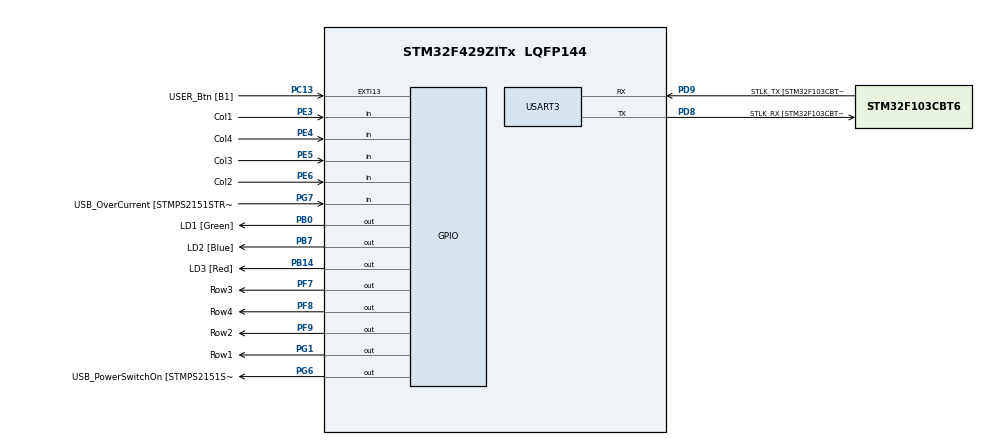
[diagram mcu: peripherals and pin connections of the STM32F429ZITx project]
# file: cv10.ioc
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Mcu.Family=STM32F4
Mcu.Name=STM32F429ZITx
Mcu.Package=LQFP144
NVIC.PriorityGroup=NVIC_PRIORITYGROUP_4
NVIC.TIM3_IRQn=true\:0\:0\:false\:false\:true\:true\:true\:true
PA1.GPIO_Label=RMII_REF_CLK [LAN8742A-CZ-TR_REFCLK0]
PA1.Signal=ETH_REF_CLK
PA10.GPIO_Label=USB_ID
PA10.Signal=USB_OTG_FS_ID
PA11.GPIO_Label=USB_DM
PA11.Signal=USB_OTG_FS_DM
PA12.GPIO_Label=USB_DP
PA12.Signal=USB_OTG_FS_DP
PA13.GPIO_Label=TMS
PA13.Mode=Serial_Wire
PA13.Signal=SYS_JTMS-SWDIO
PA14.GPIO_Label=TCK
PA14.Mode=Serial_Wire
PA14.Signal=SYS_JTCK-SWCLK
PA2.GPIO_Label=RMII_MDIO [LAN8742A-CZ-TR_MDIO]
PA2.Signal=ETH_MDIO
PA7.GPIO_Label=RMII_CRS_DV [LAN8742A-CZ-TR_CRS_DV]
PA7.Signal=ETH_CRS_DV
PA8.GPIO_Label=USB_SOF [TP1]
PA8.Signal=USB_OTG_FS_SOF
PA9.GPIO_Label=USB_VBUS
PA9.Signal=USB_OTG_FS_VBUS
PB0.GPIO_Label=LD1 [Green]
PB0.Signal=GPIO_Output
PB13.GPIO_Label=RMII_TXD1 [LAN8742A-CZ-TR_TXD1]
PB13.Signal=ETH_TXD1
PB14.GPIO_Label=LD3 [Red]
PB14.Signal=GPIO_Output
PB7.GPIO_Label=LD2 [Blue]
PB7.Signal=GPIO_Output
PC1.GPIO_Label=RMII_MDC [LAN8742A-CZ-TR_MDC]
PC1.Signal=ETH_MDC
PC13.GPIO_Label=USER_Btn [B1]
PC13.Signal=GPXTI13
PC14/OSC32_IN.Mode=LSE-External-Oscillator
PC14/OSC32_IN.Signal=RCC_OSC32_IN
PC15/OSC32_OUT.Mode=LSE-External-Oscillator
PC15/OSC32_OUT.Signal=RCC_OSC32_OUT
PC4.GPIO_Label=RMII_RXD0 [LAN8742A-CZ-TR_RXD0]
PC4.Signal=ETH_RXD0
PC5.GPIO_Label=RMII_RXD1 [LAN8742A-CZ-TR_RXD1]
PC5.Signal=ETH_RXD1
PD8.GPIO_Label=STLK_RX [STM32F103CBT6_PA3]
PD8.Mode=Asynchronous
PD8.Signal=USART3_TX
PD9.GPIO_Label=STLK_TX [STM32F103CBT6_PA2]
PD9.Mode=Asynchronous
PD9.Signal=USART3_RX
PE3.GPIO_Label=Col1
PE3.GPIO_PuPd=GPIO_PULLUP
PE3.Signal=GPIO_Input
PE4.GPIO_Label=Col4
PE4.GPIO_PuPd=GPIO_PULLUP
PE4.Signal=GPIO_Input
PE5.GPIO_Label=Col3
PE5.GPIO_PuPd=GPIO_PULLUP
PE5.Signal=GPIO_Input
PE6.GPIO_Label=Col2
PE6.GPIO_PuPd=GPIO_PULLUP
PE6.Signal=GPIO_Input
PF7.GPIO_Label=Row3
PF7.GPIO_ModeDefaultOutputPP=GPIO_MODE_OUTPUT_OD
PF7.GPIO_PuPd=GPIO_NOPULL
PF7.Signal=GPIO_Output
PF8.GPIO_Label=Row4
PF8.GPIO_ModeDefaultOutputPP=GPIO_MODE_OUTPUT_OD
PF8.GPIO_PuPd=GPIO_NOPULL
PF8.Signal=GPIO_Output
PF9.GPIO_Label=Row2
PF9.GPIO_ModeDefaultOutputPP=GPIO_MODE_OUTPUT_OD
PF9.GPIO_PuPd=GPIO_NOPULL
PF9.Signal=GPIO_Output
PG1.GPIO_Label=Row1
PG1.GPIO_ModeDefaultOutputPP=GPIO_MODE_OUTPUT_OD
PG1.GPIO_PuPd=GPIO_NOPULL
PG1.Signal=GPIO_Output
PG11.GPIO_Label=RMII_TX_EN [LAN8742A-CZ-TR_TXEN]
PG11.Signal=ETH_TX_EN
PG13.GPIO_Label=RMII_TXD0 [LAN8742A-CZ-TR_TXD0]
PG13.Signal=ETH_TXD0
PG6.GPIO_Label=USB_PowerSwitchOn [STMPS2151STR_EN]
PG6.Signal=GPIO_Output
PG7.GPIO_Label=USB_OverCurrent [STMPS2151STR_FAULT]
PG7.Signal=GPIO_Input
PH0/OSC_IN.GPIO_Label=MCO [STM32F103CBT6_PA8]
PH0/OSC_IN.Mode=HSE-External-Clock-Source
PH0/OSC_IN.Signal=RCC_OSC_IN
PH1/OSC_OUT.Mode=HSE-External-Clock-Source
PH1/OSC_OUT.Signal=RCC_OSC_OUT
ProjectManager.HeapSize=0x200
ProjectManager.StackSize=0x400
ProjectManager.TargetToolchain=STM32CubeIDE
RCC.48MHZClocksFreq_Value=48000000
RCC.AHBFreq_Value=168000000
RCC.APB1CLKDivider=RCC_HCLK_DIV4
RCC.APB1Freq_Value=42000000
RCC.APB1TimFreq_Value=84000000
RCC.APB2CLKDivider=RCC_HCLK_DIV2
RCC.APB2Freq_Value=84000000
RCC.APB2TimCLKDivider=2
RCC.APB2TimFreq_Value=168000000
RCC.CortexFreq_Value=168000000
RCC.HCLKFreq_Value=168000000
RCC.HSE_VALUE=8000000
RCC.HSI_VALUE=16000000
RCC.PLLM=4
RCC.PLLMUL=RCC_PLL_MUL9
RCC.PLLN=168
RCC.PLLQ=7
RCC.PLLSourceVirtual=RCC_PLLSOURCE_HSE
RCC.PRESCALERUSB=RCC_USBCLKSOURCE_PLL_DIV1_5
RCC.SYSCLKFreq_VALUE=168000000
RCC.SYSCLKSource=RCC_SYSCLKSOURCE_PLLCLK
RCC.SYSCLKSourceVirtual=RCC_SYSCLKSOURCE_PLLCLK
RCC.USBFreq_Value=48000000
RCC.VCOOutputFreq_Value=336000000
TIM3.AutoReloadPreload=TIM_AUTORELOAD_PRELOAD_ENABLE
TIM3.Period=99
TIM3.Prescaler=8399
USART3.VirtualMode=VM_ASYNC
VP_TIM3_VS_ClockSourceINT.Mode=Internal
board=NUCLEO-F429ZI

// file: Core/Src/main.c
/* USER CODE BEGIN Header */
/**
 ******************************************************************************
 * @file           : main.c
 * @brief          : Main program body
 ******************************************************************************
 * @attention
 *
 * Copyright (c) 2022 STMicroelectronics.
 * All rights reserved.
 *
 * This software is licensed under terms that can be found in the LICENSE file
 * in the root directory of this software component.
 * If no LICENSE file comes with this software, it is provided AS-IS.
 *
 ******************************************************************************
 */
/* USER CODE END Header */
#include "main.h"

/* USER CODE BEGIN Includes */
#include <stdio.h>

/* USER CODE END Includes */

TIM_HandleTypeDef htim3;

UART_HandleTypeDef huart3;

/* USER CODE BEGIN PV */
static volatile int8_t key = -1;
static const int key_def[5] =  {7, 9, 3, 2, 12 };

/* USER CODE END PV */

void SystemClock_Config(void);
static void MX_GPIO_Init(void);
static void MX_USART3_UART_Init(void);
static void MX_TIM3_Init(void);

/* USER CODE BEGIN 0 */
int __io_putchar(int ch)
{
	ITM_SendChar(ch);
	return 0;
}

static int8_t pos = 0;

/* USER CODE END 0 */

int main(void)
{

	/* MCU Configuration--------------------------------------------------------*/

	/* Reset of all peripherals, Initializes the Flash interface and the Systick. */
	HAL_Init();

	/* Configure the system clock */
	SystemClock_Config();

	/* Initialize all configured peripherals */
	MX_GPIO_Init();
	MX_USART3_UART_Init();
	MX_TIM3_Init();
	/* USER CODE BEGIN 2 */
	HAL_TIM_Base_Start_IT(&htim3);
	printf(" test - OK\n\r");
	int8_t pos = 0;

	/* USER CODE END 2 */

	/* Infinite loop */
	/* USER CODE BEGIN WHILE */
	while (1)
	{
		//HAL_GPIO_TogglePin(LD1_GPIO_Port, LD1_Pin);
		//HAL_Delay(120);

		//scanf("%d", key);
		static uint32_t delay = 0xffffffff;
		if (HAL_GetTick() > delay) {
			pos = 0;
			delay = 0xffffffff;
			printf("timeout\n");

		}

		if (key != -1) {
			delay = HAL_GetTick() + 3000;
			printf("pressed %d\n", key);
			if (key == key_def[pos]) {
				pos++;
			}
			else {
				pos = 0;
			}
			printf("pos = %d\n", pos);
			HAL_Delay(500);
			key = -1;
		}
		if (pos == 5) {
			HAL_GPIO_TogglePin(LD1_GPIO_Port, LD1_Pin);
			pos = 0;
			delay = 0xffffffff;
			}

			/* USER CODE END WHILE */

		}
	}

	/**
	 * @brief System Clock Configuration
	 * @retval None
	 */
	void SystemClock_Config(void)
	{
		RCC_OscInitTypeDef RCC_OscInitStruct = {0};
		RCC_ClkInitTypeDef RCC_ClkInitStruct = {0};

		/** Configure the main internal regulator output voltage
		 */
		__HAL_RCC_PWR_CLK_ENABLE();
		__HAL_PWR_VOLTAGESCALING_CONFIG(PWR_REGULATOR_VOLTAGE_SCALE1);

		/** Initializes the RCC Oscillators according to the specified parameters
		 * in the RCC_OscInitTypeDef structure.
		 */
		RCC_OscInitStruct.OscillatorType = RCC_OSCILLATORTYPE_HSE;
		RCC_OscInitStruct.HSEState = RCC_HSE_BYPASS;
		RCC_OscInitStruct.PLL.PLLState = RCC_PLL_ON;
		RCC_OscInitStruct.PLL.PLLSource = RCC_PLLSOURCE_HSE;
		RCC_OscInitStruct.PLL.PLLM = 4;
		RCC_OscInitStruct.PLL.PLLN = 168;
		RCC_OscInitStruct.PLL.PLLP = RCC_PLLP_DIV2;
		RCC_OscInitStruct.PLL.PLLQ = 7;
		if (HAL_RCC_OscConfig(&RCC_OscInitStruct) != HAL_OK)
		{
			Error_Handler();
		}

		/** Initializes the CPU, AHB and APB buses clocks
		 */
		RCC_ClkInitStruct.ClockType = RCC_CLOCKTYPE_HCLK|RCC_CLOCKTYPE_SYSCLK
				|RCC_CLOCKTYPE_PCLK1|RCC_CLOCKTYPE_PCLK2;
		RCC_ClkInitStruct.SYSCLKSource = RCC_SYSCLKSOURCE_PLLCLK;
		RCC_ClkInitStruct.AHBCLKDivider = RCC_SYSCLK_DIV1;
		RCC_ClkInitStruct.APB1CLKDivider = RCC_HCLK_DIV4;
		RCC_ClkInitStruct.APB2CLKDivider = RCC_HCLK_DIV2;

		if (HAL_RCC_ClockConfig(&RCC_ClkInitStruct, FLASH_LATENCY_5) != HAL_OK)
		{
			Error_Handler();
		}
	}

	/**
	 * @brief TIM3 Initialization Function
	 * @param None
	 * @retval None
	 */
	static void MX_TIM3_Init(void)
	{

		TIM_ClockConfigTypeDef sClockSourceConfig = {0};
		TIM_MasterConfigTypeDef sMasterConfig = {0};

		htim3.Instance = TIM3;
		htim3.Init.Prescaler = 8399;
		htim3.Init.CounterMode = TIM_COUNTERMODE_UP;
		htim3.Init.Period = 99;
		htim3.Init.ClockDivision = TIM_CLOCKDIVISION_DIV1;
		htim3.Init.AutoReloadPreload = TIM_AUTORELOAD_PRELOAD_ENABLE;
		if (HAL_TIM_Base_Init(&htim3) != HAL_OK)
		{
			Error_Handler();
		}
		sClockSourceConfig.ClockSource = TIM_CLOCKSOURCE_INTERNAL;
		if (HAL_TIM_ConfigClockSource(&htim3, &sClockSourceConfig) != HAL_OK)
		{
			Error_Handler();
		}
		sMasterConfig.MasterOutputTrigger = TIM_TRGO_RESET;
		sMasterConfig.MasterSlaveMode = TIM_MASTERSLAVEMODE_DISABLE;
		if (HAL_TIMEx_MasterConfigSynchronization(&htim3, &sMasterConfig) != HAL_OK)
		{
			Error_Handler();
		}

	}

	/**
	 * @brief USART3 Initialization Function
	 * @param None
	 * @retval None
	 */
	static void MX_USART3_UART_Init(void)
	{

		huart3.Instance = USART3;
		huart3.Init.BaudRate = 115200;
		huart3.Init.WordLength = UART_WORDLENGTH_8B;
		huart3.Init.StopBits = UART_STOPBITS_1;
		huart3.Init.Parity = UART_PARITY_NONE;
		huart3.Init.Mode = UART_MODE_TX_RX;
		huart3.Init.HwFlowCtl = UART_HWCONTROL_NONE;
		huart3.Init.OverSampling = UART_OVERSAMPLING_16;
		if (HAL_UART_Init(&huart3) != HAL_OK)
		{
			Error_Handler();
		}

	}

	/**
	 * @brief GPIO Initialization Function
	 * @param None
	 * @retval None
	 */
	static void MX_GPIO_Init(void)
	{
		GPIO_InitTypeDef GPIO_InitStruct = {0};

		/* GPIO Ports Clock Enable */
		__HAL_RCC_GPIOE_CLK_ENABLE();
		__HAL_RCC_GPIOC_CLK_ENABLE();
		__HAL_RCC_GPIOF_CLK_ENABLE();
		__HAL_RCC_GPIOH_CLK_ENABLE();
		__HAL_RCC_GPIOA_CLK_ENABLE();
		__HAL_RCC_GPIOB_CLK_ENABLE();
		__HAL_RCC_GPIOG_CLK_ENABLE();
		__HAL_RCC_GPIOD_CLK_ENABLE();

		/*Configure GPIO pin Output Level */
		HAL_GPIO_WritePin(GPIOF, Row3_Pin|Row4_Pin|Row2_Pin, GPIO_PIN_RESET);

		/*Configure GPIO pin Output Level */
		HAL_GPIO_WritePin(GPIOB, LD1_Pin|LD3_Pin|LD2_Pin, GPIO_PIN_RESET);

		/*Configure GPIO pin Output Level */
		HAL_GPIO_WritePin(GPIOG, Row1_Pin|USB_PowerSwitchOn_Pin, GPIO_PIN_RESET);

		/*Configure GPIO pins : Col1_Pin Col4_Pin Col3_Pin Col2_Pin */
		GPIO_InitStruct.Pin = Col1_Pin|Col4_Pin|Col3_Pin|Col2_Pin;
		GPIO_InitStruct.Mode = GPIO_MODE_INPUT;
		GPIO_InitStruct.Pull = GPIO_PULLUP;
		HAL_GPIO_Init(GPIOE, &GPIO_InitStruct);

		/*Configure GPIO pin : USER_Btn_Pin */
		GPIO_InitStruct.Pin = USER_Btn_Pin;
		GPIO_InitStruct.Mode = GPIO_MODE_IT_RISING;
		GPIO_InitStruct.Pull = GPIO_NOPULL;
		HAL_GPIO_Init(USER_Btn_GPIO_Port, &GPIO_InitStruct);

		/*Configure GPIO pins : Row3_Pin Row4_Pin Row2_Pin */
		GPIO_InitStruct.Pin = Row3_Pin|Row4_Pin|Row2_Pin;
		GPIO_InitStruct.Mode = GPIO_MODE_OUTPUT_OD;
		GPIO_InitStruct.Pull = GPIO_NOPULL;
		GPIO_InitStruct.Speed = GPIO_SPEED_FREQ_LOW;
		HAL_GPIO_Init(GPIOF, &GPIO_InitStruct);

		/*Configure GPIO pins : RMII_MDC_Pin RMII_RXD0_Pin RMII_RXD1_Pin */
		GPIO_InitStruct.Pin = RMII_MDC_Pin|RMII_RXD0_Pin|RMII_RXD1_Pin;
		GPIO_InitStruct.Mode = GPIO_MODE_AF_PP;
		GPIO_InitStruct.Pull = GPIO_NOPULL;
		GPIO_InitStruct.Speed = GPIO_SPEED_FREQ_VERY_HIGH;
		GPIO_InitStruct.Alternate = GPIO_AF11_ETH;
		HAL_GPIO_Init(GPIOC, &GPIO_InitStruct);

		/*Configure GPIO pins : RMII_REF_CLK_Pin RMII_MDIO_Pin RMII_CRS_DV_Pin */
		GPIO_InitStruct.Pin = RMII_REF_CLK_Pin|RMII_MDIO_Pin|RMII_CRS_DV_Pin;
		GPIO_InitStruct.Mode = GPIO_MODE_AF_PP;
		GPIO_InitStruct.Pull = GPIO_NOPULL;
		GPIO_InitStruct.Speed = GPIO_SPEED_FREQ_VERY_HIGH;
		GPIO_InitStruct.Alternate = GPIO_AF11_ETH;
		HAL_GPIO_Init(GPIOA, &GPIO_InitStruct);

		/*Configure GPIO pins : LD1_Pin LD3_Pin LD2_Pin */
		GPIO_InitStruct.Pin = LD1_Pin|LD3_Pin|LD2_Pin;
		GPIO_InitStruct.Mode = GPIO_MODE_OUTPUT_PP;
		GPIO_InitStruct.Pull = GPIO_NOPULL;
		GPIO_InitStruct.Speed = GPIO_SPEED_FREQ_LOW;
		HAL_GPIO_Init(GPIOB, &GPIO_InitStruct);

		/*Configure GPIO pin : Row1_Pin */
		GPIO_InitStruct.Pin = Row1_Pin;
		GPIO_InitStruct.Mode = GPIO_MODE_OUTPUT_OD;
		GPIO_InitStruct.Pull = GPIO_NOPULL;
		GPIO_InitStruct.Speed = GPIO_SPEED_FREQ_LOW;
		HAL_GPIO_Init(Row1_GPIO_Port, &GPIO_InitStruct);

		/*Configure GPIO pin : RMII_TXD1_Pin */
		GPIO_InitStruct.Pin = RMII_TXD1_Pin;
		GPIO_InitStruct.Mode = GPIO_MODE_AF_PP;
		GPIO_InitStruct.Pull = GPIO_NOPULL;
		GPIO_InitStruct.Speed = GPIO_SPEED_FREQ_VERY_HIGH;
		GPIO_InitStruct.Alternate = GPIO_AF11_ETH;
		HAL_GPIO_Init(RMII_TXD1_GPIO_Port, &GPIO_InitStruct);

		/*Configure GPIO pin : USB_PowerSwitchOn_Pin */
		GPIO_InitStruct.Pin = USB_PowerSwitchOn_Pin;
		GPIO_InitStruct.Mode = GPIO_MODE_OUTPUT_PP;
		GPIO_InitStruct.Pull = GPIO_NOPULL;
		GPIO_InitStruct.Speed = GPIO_SPEED_FREQ_LOW;
		HAL_GPIO_Init(USB_PowerSwitchOn_GPIO_Port, &GPIO_InitStruct);

		/*Configure GPIO pin : USB_OverCurrent_Pin */
		GPIO_InitStruct.Pin = USB_OverCurrent_Pin;
		GPIO_InitStruct.Mode = GPIO_MODE_INPUT;
		GPIO_InitStruct.Pull = GPIO_NOPULL;
		HAL_GPIO_Init(USB_OverCurrent_GPIO_Port, &GPIO_InitStruct);

		/*Configure GPIO pins : USB_SOF_Pin USB_ID_Pin USB_DM_Pin USB_DP_Pin */
		GPIO_InitStruct.Pin = USB_SOF_Pin|USB_ID_Pin|USB_DM_Pin|USB_DP_Pin;
		GPIO_InitStruct.Mode = GPIO_MODE_AF_PP;
		GPIO_InitStruct.Pull = GPIO_NOPULL;
		GPIO_InitStruct.Speed = GPIO_SPEED_FREQ_VERY_HIGH;
		GPIO_InitStruct.Alternate = GPIO_AF10_OTG_FS;
		HAL_GPIO_Init(GPIOA, &GPIO_InitStruct);

		/*Configure GPIO pin : USB_VBUS_Pin */
		GPIO_InitStruct.Pin = USB_VBUS_Pin;
		GPIO_InitStruct.Mode = GPIO_MODE_INPUT;
		GPIO_InitStruct.Pull = GPIO_NOPULL;
		HAL_GPIO_Init(USB_VBUS_GPIO_Port, &GPIO_InitStruct);

		/*Configure GPIO pins : RMII_TX_EN_Pin RMII_TXD0_Pin */
		GPIO_InitStruct.Pin = RMII_TX_EN_Pin|RMII_TXD0_Pin;
		GPIO_InitStruct.Mode = GPIO_MODE_AF_PP;
		GPIO_InitStruct.Pull = GPIO_NOPULL;
		GPIO_InitStruct.Speed = GPIO_SPEED_FREQ_VERY_HIGH;
		GPIO_InitStruct.Alternate = GPIO_AF11_ETH;
		HAL_GPIO_Init(GPIOG, &GPIO_InitStruct);

	}

	/* USER CODE BEGIN 4 */
	void HAL_TIM_PeriodElapsedCallback(TIM_HandleTypeDef *htim)
	{
		static int row = 0;
		static const int keyboard[4][4] = {
				{ 1, 2, 3, 21 },
				{ 4, 5, 6, 22 },
				{ 7, 8, 9, 23 },
				{ 11, 0, 12, 24 },
		};
		if (key == -1) {
			if (HAL_GPIO_ReadPin(Col1_GPIO_Port, Col1_Pin) == GPIO_PIN_RESET) key = keyboard[row][0];
			if (HAL_GPIO_ReadPin(Col2_GPIO_Port, Col2_Pin) == GPIO_PIN_RESET) key = keyboard[row][1];
			if (HAL_GPIO_ReadPin(Col3_GPIO_Port, Col3_Pin) == GPIO_PIN_RESET) key = keyboard[row][2];
			if (HAL_GPIO_ReadPin(Col4_GPIO_Port, Col4_Pin) == GPIO_PIN_RESET) key = keyboard[row][3];

		}
		HAL_GPIO_WritePin(Row1_GPIO_Port, Row1_Pin, GPIO_PIN_SET);
		HAL_GPIO_WritePin(Row2_GPIO_Port, Row2_Pin, GPIO_PIN_SET);
		HAL_GPIO_WritePin(Row3_GPIO_Port, Row3_Pin, GPIO_PIN_SET);
		HAL_GPIO_WritePin(Row4_GPIO_Port, Row4_Pin, GPIO_PIN_SET);
		switch (row) {
		case 0: row = 1; HAL_GPIO_WritePin(Row2_GPIO_Port, Row2_Pin, GPIO_PIN_RESET); break;
		case 1: row = 2; HAL_GPIO_WritePin(Row3_GPIO_Port, Row3_Pin, GPIO_PIN_RESET); break;
		case 2: row = 3; HAL_GPIO_WritePin(Row4_GPIO_Port, Row4_Pin, GPIO_PIN_RESET); break;
		case 3: row = 0; HAL_GPIO_WritePin(Row1_GPIO_Port, Row1_Pin, GPIO_PIN_RESET); break;

		}
	}

	/* USER CODE END 4 */

	/**
	 * @brief  This function is executed in case of error occurrence.
	 * @retval None
	 */
	void Error_Handler(void)
	{
		__disable_irq();
		while (1)
		{
		}
	}
